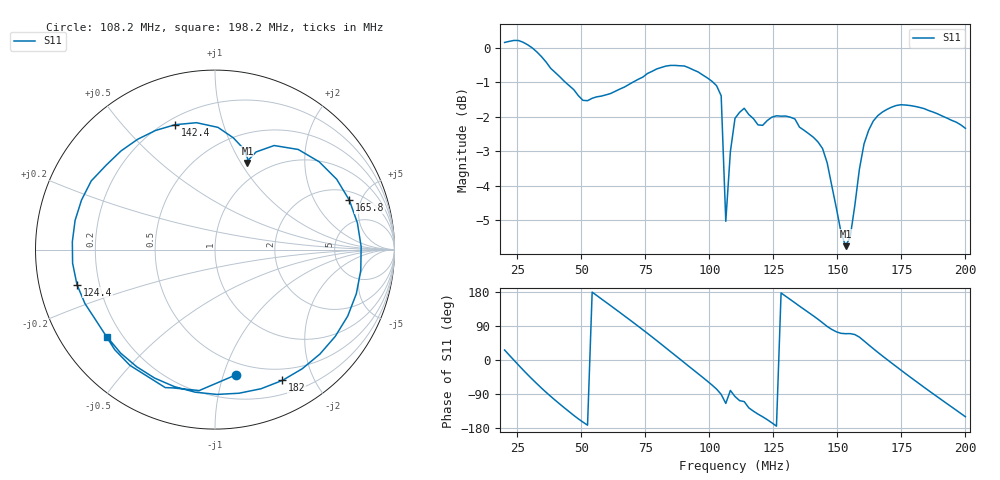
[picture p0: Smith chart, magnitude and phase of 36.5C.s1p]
# HZ S RI R 50
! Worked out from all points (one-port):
!   101 points, 20 MHz to 200 MHz, reference 50 ohm
!   lowest |S11| = -5.8 dB at 153.2 MHz (marker M1), VSWR 3.13, Z = 40.6 + j53.4 ohm
!   |S11| at or under -10 dB: nowhere
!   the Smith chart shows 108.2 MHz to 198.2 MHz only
!   S11 on the Smith chart (normalised r, x): 108.2 MHz: 0.40, -1.10; 124.4 MHz: 0.12, -0.12; 142.4 MHz: 0.24, +0.70; 165.8 MHz: 2.62, +3.96; 182 MHz: 0.36, -1.58; 198.2 MHz: 0.14, -0.35
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2e7  0.9129 0.4517
2.54e7  0.9981 -0.2344
3.26e7  0.4556 -0.8753
3.8e7  -0.0962 -0.9292
4.34e7  -0.532 -0.7184
5.42e7  -0.845 0.0135
6.5e7  -0.5068 0.709
7.58e7  0.3088 0.8647
8.84e7  0.9411 0.0455
9.38e7  0.8315 -0.4143
1.01e8  0.3646 -0.8168
1.046e8  -0.0104 -0.8521
1.064e8  -0.2329 -0.5094
1.082e8  0.1181 -0.6973
1.1e8  -0.0881 -0.7854
1.244e8  -0.7692 -0.1946
1.334e8  -0.6895 0.3827
1.424e8  -0.2214 0.6961
1.532e8  0.1809 0.4826
1.55e8  0.185 0.4983
1.604e8  0.4636 0.5579
1.658e8  0.7485 0.2753
1.712e8  0.8123 -0.1154
1.784e8  0.5846 -0.5819
1.82e8  0.376 -0.7286
1.892e8  -0.1099 -0.7946
1.982e8  -0.6012 -0.4862
2e8  -0.6599 -0.3857
